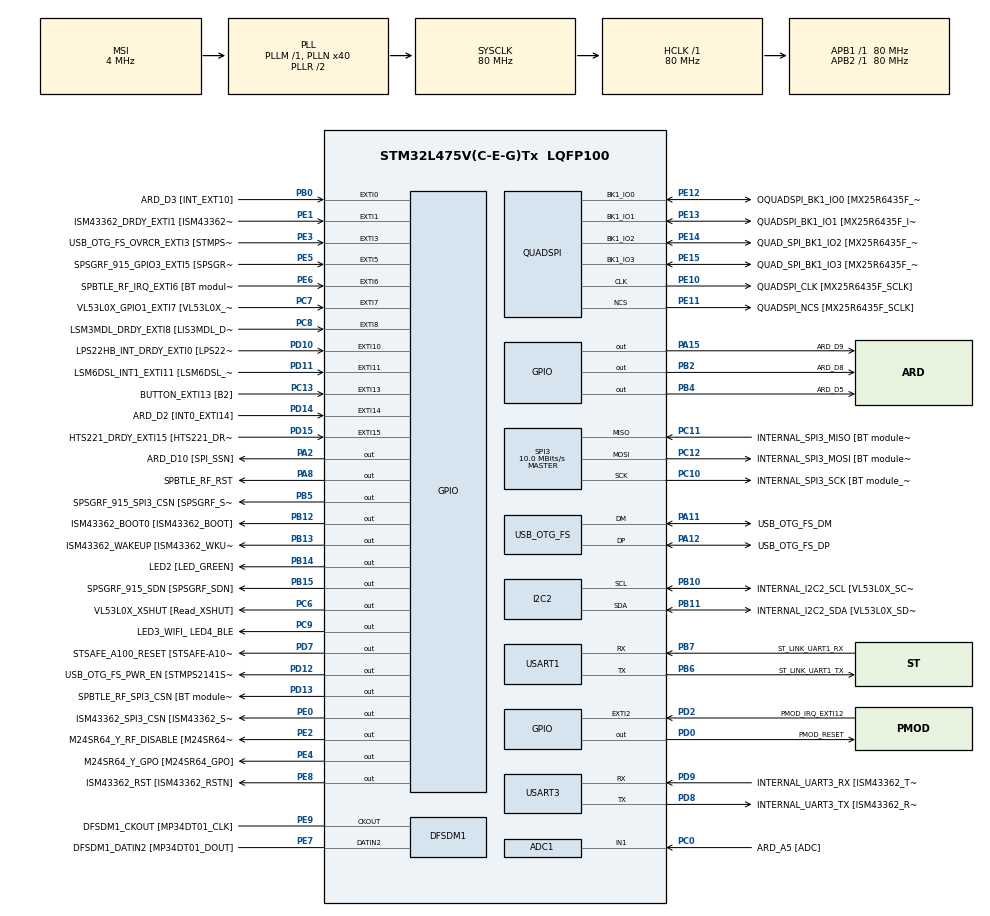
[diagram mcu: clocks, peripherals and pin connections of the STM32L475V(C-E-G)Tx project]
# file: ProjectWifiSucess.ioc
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ADC1.Channel-0\#ChannelRegularConversion=ADC_CHANNEL_1
ADC1.NbrOfConversionFlag=1
ADC1.OffsetNumber-0\#ChannelRegularConversion=ADC_OFFSET_NONE
ADC1.Rank-0\#ChannelRegularConversion=1
ADC1.SamplingTime-0\#ChannelRegularConversion=ADC_SAMPLETIME_2CYCLES_5
ADC1.master=1
I2C2.Timing=0x10909CEC
Mcu.Family=STM32L4
Mcu.Name=STM32L475V(C-E-G)Tx
Mcu.Package=LQFP100
NVIC.ADC1_2_IRQn=true\:0\:0\:false\:false\:true\:true\:true
NVIC.EXTI15_10_IRQn=true\:0\:0\:false\:false\:true\:true\:true
NVIC.EXTI9_5_IRQn=true\:0\:0\:false\:false\:true\:true\:true
NVIC.PriorityGroup=NVIC_PRIORITYGROUP_4
NVIC.SPI3_IRQn=true\:0\:0\:false\:false\:true\:true\:true
PA0.GPIO_Label=ARD_D1 [UART4_TX]
PA0.Signal=UART4_TX
PA1.GPIO_Label=ARD_D0 [UART4_RX]
PA1.Signal=UART4_RX
PA10.GPIO_Label=USB_OTG_FS_ID
PA10.Signal=USB_OTG_FS_ID
PA11.GPIO_Label=USB_OTG_FS_DM
PA11.Mode=Device_Only
PA11.Signal=USB_OTG_FS_DM
PA12.GPIO_Label=USB_OTG_FS_DP
PA12.Mode=Device_Only
PA12.Signal=USB_OTG_FS_DP
PA13\ (JTMS-SWDIO).GPIO_Label=SYS_JTMS_SWDIO
PA13\ (JTMS-SWDIO).Mode=Serial_Wire
PA13\ (JTMS-SWDIO).Signal=SYS_JTMS-SWDIO
PA14\ (JTCK-SWCLK).GPIO_Label=SYS_JTCK_SWCLK
PA14\ (JTCK-SWCLK).Mode=Serial_Wire
PA14\ (JTCK-SWCLK).Signal=SYS_JTCK-SWCLK
PA15\ (JTDI).GPIO_Label=ARD_D9
PA15\ (JTDI).Signal=GPIO_Output
PA2.GPIO_Label=ARD_D10 [SPI_SSN]
PA2.Signal=GPIO_Output
PA3.GPIO_Label=ARD_D4
PA3.Signal=S_TIM2_CH4
PA4.GPIO_Label=ARD_D7
PA4.Signal=ADCx_IN9
PA5.GPIO_Label=ARD_D13 [SPI1_SCK]
PA5.Signal=SPI1_SCK
PA6.GPIO_Label=ARD_D12 [SPI1_MISO]
PA6.Signal=SPI1_MISO
PA7.GPIO_Label=ARD_D11 [SPI1_MOSI]
PA7.Signal=SPI1_MOSI
PA8.GPIO_Label=SPBTLE_RF_RST
PA8.Signal=GPIO_Output
PA9.GPIO_Label=USB_OTG_FS_VBUS [STMPS2141STR_OUT]
PA9.Signal=USB_OTG_FS_VBUS
PB0.GPIO_Label=ARD_D3 [INT_EXT10]
PB0.Signal=GPXTI0
PB1.GPIO_Label=ARD_D6 [ADC1_IN6]
PB1.Signal=ADCx_IN16
PB10.GPIO_Label=INTERNAL_I2C2_SCL [VL53L0X_SCL]
PB10.Mode=I2C
PB10.Signal=I2C2_SCL
PB11.GPIO_Label=INTERNAL_I2C2_SDA [VL53L0X_SDA]
PB11.Mode=I2C
PB11.Signal=I2C2_SDA
PB12.GPIO_Label=ISM43362_BOOT0 [ISM43362_BOOT]
PB12.Signal=GPIO_Output
PB13.GPIO_Label=ISM43362_WAKEUP [ISM43362_WKUP]
PB13.Signal=GPIO_Output
PB14.GPIO_Label=LED2 [LED_GREEN]
PB14.Signal=GPIO_Output
PB15.GPIO_Label=SPSGRF_915_SDN [SPSGRF_SDN]
PB15.Signal=GPIO_Output
PB2.GPIO_Label=ARD_D8
PB2.Signal=GPIO_Output
PB3\ (JTDO-TRACESWO).GPIO_Label=SYS_JTD0_SWO
PB3\ (JTDO-TRACESWO).Signal=SYS_JTDO-SWO
PB4\ (NJTRST).GPIO_Label=ARD_D5
PB4\ (NJTRST).Signal=GPIO_Output
PB5.GPIO_Label=SPSGRF_915_SPI3_CSN [SPSGRF_SPI_CS]
PB5.PinState=GPIO_PIN_SET
PB5.Signal=GPIO_Output
PB6.GPIO_Label=ST_LINK_UART1_TX
PB6.Mode=Asynchronous
PB6.Signal=USART1_TX
PB7.GPIO_Label=ST_LINK_UART1_RX
PB7.Mode=Asynchronous
PB7.Signal=USART1_RX
PB8.GPIO_Label=ARD_D15 [I2C1_SCL]
PB8.Signal=I2C1_SCL
PB9.GPIO_Label=ARD_D14 [I2C1_SDA]
PB9.Signal=I2C1_SDA
PC0.GPIO_Label=ARD_A5 [ADC]
PC0.Signal=ADCx_IN1
PC1.GPIO_Label=ARD_A4 [ADC]
PC1.Signal=ADCx_IN2
PC10.GPIO_Label=INTERNAL_SPI3_SCK [BT module_SPI_SCLK] [ISM43362_SCK]
PC10.Mode=Full_Duplex_Master
PC10.Signal=SPI3_SCK
PC11.GPIO_Label=INTERNAL_SPI3_MISO [BT module_SPI_MISO] [ISM43362_MISO]
PC11.Mode=Full_Duplex_Master
PC11.Signal=SPI3_MISO
PC12.GPIO_Label=INTERNAL_SPI3_MOSI [BT module_SPI_MOSI] [ISM43362_MOSI]
PC12.Mode=Full_Duplex_Master
PC12.Signal=SPI3_MOSI
PC13.GPIO_Label=BUTTON_EXTI13 [B2]
PC13.GPIO_ModeDefaultEXTI=GPIO_MODE_IT_FALLING
PC13.Signal=GPXTI13
PC14-OSC32_IN\ (PC14).Mode=LSE-External-Oscillator
PC14-OSC32_IN\ (PC14).Signal=RCC_OSC32_IN
PC15-OSC32_OUT\ (PC15).Mode=LSE-External-Oscillator
PC15-OSC32_OUT\ (PC15).Signal=RCC_OSC32_OUT
PC2.GPIO_Label=ARD_A3 [ADC]
PC2.Signal=ADCx_IN3
PC3.GPIO_Label=ARD_A2 [ADC]
PC3.Signal=ADCx_IN4
PC4.GPIO_Label=ARD_A1 [ADC]
PC4.Signal=ADCx_IN13
PC5.GPIO_Label=ARD_A0 [ADC]
PC5.Signal=ADCx_IN14
PC6.GPIO_Label=VL53L0X_XSHUT [Read_XSHUT]
PC6.Signal=GPIO_Output
PC7.GPIO_Label=VL53L0X_GPIO1_EXTI7 [VL53L0X_GPIO1]
PC7.Signal=GPXTI7
PC8.GPIO_Label=LSM3MDL_DRDY_EXTI8 [LIS3MDL_DRDY]
PC8.Signal=GPXTI8
PC9.GPIO_Label=LED3_WIFI_ LED4_BLE
PC9.Signal=GPIO_Output
PD0.GPIO_Label=PMOD_RESET
PD0.Signal=GPIO_Output
PD1.GPIO_Label=PMOD_SPI2_SCK
PD1.Signal=SPI2_SCK
PD10.GPIO_Label=LPS22HB_INT_DRDY_EXTI0 [LPS22HB_INT_DRDY] 
PD10.Signal=GPXTI10
PD11.GPIO_Label=LSM6DSL_INT1_EXTI11 [LSM6DSL_INT1]
PD11.Signal=GPXTI11
PD12.GPIO_Label=USB_OTG_FS_PWR_EN [STMPS2141STR_EN]
PD12.Signal=GPIO_Output
PD13.GPIO_Label=SPBTLE_RF_SPI3_CSN [BT module_SPI_CS]
PD13.PinState=GPIO_PIN_SET
PD13.Signal=GPIO_Output
PD14.GPIO_Label=ARD_D2 [INT0_EXTI14]
PD14.Signal=GPXTI14
PD15.GPIO_Label=HTS221_DRDY_EXTI15 [HTS221_DRDY]
PD15.Signal=GPXTI15
PD2.GPIO_Label=PMOD_IRQ_EXTI12
PD2.Signal=GPXTI2
PD3.GPIO_Label=PMOD_UART2_CTS
PD3.Signal=USART2_CTS
PD4.GPIO_Label=PMOD_UART2_RTS
PD4.Signal=USART2_RTS
PD5.GPIO_Label=PMOD_UART2_TX
PD5.Signal=USART2_TX
PD6.GPIO_Label=PMOD_UART2_RX
PD6.Signal=USART2_RX
PD7.GPIO_Label=STSAFE_A100_RESET [STSAFE-A100_RESET]
PD7.Signal=GPIO_Output
PD8.GPIO_Label=INTERNAL_UART3_TX [ISM43362_RX]
PD8.Mode=Asynchronous
PD8.Signal=USART3_TX
PD9.GPIO_Label=INTERNAL_UART3_RX [ISM43362_TX]
PD9.Mode=Asynchronous
PD9.Signal=USART3_RX
PE0.GPIO_Label=ISM43362_SPI3_CSN [ISM43362_SSN]
PE0.PinState=GPIO_PIN_SET
PE0.Signal=GPIO_Output
PE1.GPIO_Label=ISM43362_DRDY_EXTI1 [ISM43362_DATARDY]
PE1.Signal=GPXTI1
PE10.GPIO_Label=QUADSPI_CLK [MX25R6435F_SCLK]
PE10.Mode=Single Bank
PE10.Signal=QUADSPI_CLK
PE11.GPIO_Label=QUADSPI_NCS [MX25R6435F_SCLK]
PE11.Mode=Single Bank
PE11.Signal=QUADSPI_NCS
PE12.GPIO_Label=OQUADSPI_BK1_IO0 [MX25R6435F_IO0]
PE12.Mode=Single Bank
PE12.Signal=QUADSPI_BK1_IO0
PE13.GPIO_Label=QUADSPI_BK1_IO1 [MX25R6435F_IO1]
PE13.Mode=Single Bank
PE13.Signal=QUADSPI_BK1_IO1
PE14.GPIO_Label=QUAD_SPI_BK1_IO2 [MX25R6435F_IO2]
PE14.Mode=Single Bank
PE14.Signal=QUADSPI_BK1_IO2
PE15.GPIO_Label=QUAD_SPI_BK1_IO3 [MX25R6435F_IO3]
PE15.Mode=Single Bank
PE15.Signal=QUADSPI_BK1_IO3
PE2.GPIO_Label=M24SR64_Y_RF_DISABLE [M24SR64_RFDIS]
PE2.Signal=GPIO_Output
PE3.GPIO_Label=USB_OTG_FS_OVRCR_EXTI3 [STMPS2141STR_FAULT]
PE3.Signal=GPXTI3
PE4.GPIO_Label=M24SR64_Y_GPO [M24SR64_GPO]
PE4.Signal=GPIO_Output
PE5.GPIO_Label=SPSGRF_915_GPIO3_EXTI5 [SPSGRF_GPIO_3]
PE5.Signal=GPXTI5
PE6.GPIO_Label=SPBTLE_RF_IRQ_EXTI6 [BT module_SPI_IRQ]
PE6.Signal=GPXTI6
PE7.GPIO_Label=DFSDM1_DATIN2 [MP34DT01_DOUT]
PE7.Signal=S_DATAIN2DFSDM1
PE8.GPIO_Label=ISM43362_RST [ISM43362_RSTN]
PE8.Signal=GPIO_Output
PE9.GPIO_Label=DFSDM1_CKOUT [MP34DT01_CLK]
PE9.Signal=S_CKOUTDFSDM1
ProjectManager.HeapSize=0x200
ProjectManager.StackSize=0x400
ProjectManager.TargetToolchain=STM32CubeIDE
RCC.ADCFreq_Value=48000000
RCC.AHBFreq_Value=80000000
RCC.APB1Freq_Value=80000000
RCC.APB1TimFreq_Value=80000000
RCC.APB2Freq_Value=80000000
RCC.APB2TimFreq_Value=80000000
RCC.CortexFreq_Value=80000000
RCC.HCLKFreq_Value=80000000
RCC.HSE_VALUE=8000000
RCC.HSI_VALUE=16000000
RCC.MSI_VALUE=4000000
RCC.PLLN=40
RCC.PLLSAI1N=24
RCC.SYSCLKFreq_VALUE=80000000
RCC.SYSCLKSource=RCC_SYSCLKSOURCE_PLLCLK
RCC.USBFreq_Value=48000000
RCC.VCOOutputFreq_Value=160000000
SH.ADCx_IN1.0=ADC1_IN1,IN1-Single-Ended
SH.ADCx_IN13.0=ADC1_IN13
SH.ADCx_IN14.0=ADC1_IN14
SH.ADCx_IN16.0=ADC1_IN16
SH.ADCx_IN2.0=ADC1_IN2
SH.ADCx_IN3.0=ADC1_IN3
SH.ADCx_IN4.0=ADC1_IN4
SH.ADCx_IN9.0=ADC1_IN9
SH.S_CKOUTDFSDM1.0=DFSDM1_CKOUT,CKOUT
SH.S_CKOUTDFSDM1.1=DFSDM1_CKOUT,PDM_SPI_Input_from_ch12_and_Internal_Clock
SH.S_DATAIN2DFSDM1.0=DFSDM1_DATIN2,PDM_SPI_Input_from_ch12_and_Internal_Clock
SH.S_TIM2_CH4.0=TIM2_CH4
SPI3.BaudRatePrescaler=SPI_BAUDRATEPRESCALER_8
SPI3.CalculateBaudRate=10.0 MBits/s
SPI3.DataSize=SPI_DATASIZE_16BIT
SPI3.Direction=SPI_DIRECTION_2LINES
SPI3.Mode=SPI_MODE_MASTER
SPI3.NSSPMode=SPI_NSS_PULSE_DISABLE
SPI3.VirtualType=VM_MASTER
USART1.VirtualMode-Asynchronous=VM_ASYNC
USART3.VirtualMode-Asynchronous=VM_ASYNC
USB_OTG_FS.VirtualMode=Device_Only
board=B-L475E-IOT01A1

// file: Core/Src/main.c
/* USER CODE BEGIN Header */
/**
  ******************************************************************************
  * @file           : main.c
  * @brief          : Main program body
  ******************************************************************************
  * @attention
  *
  * <h2><center>&copy; Copyright (c) 2020 STMicroelectronics.
  * All rights reserved.</center></h2>
  *
  * This software component is licensed by ST under BSD 3-Clause license,
  * the "License"; You may not use this file except in compliance with the
  * License. You may obtain a copy of the License at:
  *                        opensource.org/licenses/BSD-3-Clause
  *
  ******************************************************************************
  *
  * This program is designed as an agricultural sensor measurement/management
  * system over WiFi.
  */
/* USER CODE END Header */
#include "main.h"

/* USER CODE BEGIN Includes */

#include <stdint.h>
#include "stm32l475e_iot01.h"
#include "SensorManager.h"
#include "Time.h" // Custom Time Library"
#include "ADC.h"
#include "WiFiController.h"
#include "DBG_UART.h"
/* USER CODE END Includes */

ADC_HandleTypeDef hadc1;

DFSDM_Channel_HandleTypeDef hdfsdm1_channel1;

I2C_HandleTypeDef hi2c2;

QSPI_HandleTypeDef hqspi;

SPI_HandleTypeDef hspi3;

UART_HandleTypeDef huart1;
UART_HandleTypeDef huart3;

PCD_HandleTypeDef hpcd_USB_OTG_FS;

void SystemClock_Config(void);
static void MX_GPIO_Init(void);
static void MX_DFSDM1_Init(void);
static void MX_I2C2_Init(void);
static void MX_QUADSPI_Init(void);
static void MX_USART1_UART_Init(void);
static void MX_USART3_UART_Init(void);
static void MX_USB_OTG_FS_PCD_Init(void);
static void MX_SPI3_Init(void);
static void MX_ADC1_Init(void);

int main(void)
{

  /* MCU Configuration--------------------------------------------------------*/

  /* Reset of all peripherals, Initializes the Flash interface and the Systick. */
  HAL_Init();

  /* Configure the system clock */
  SystemClock_Config();

  /* USER CODE BEGIN SysInit */
  Time_Init(); // initialize timer
  /* USER CODE END SysInit */

  /* Initialize all configured peripherals */
  MX_GPIO_Init();
  MX_DFSDM1_Init();
  MX_I2C2_Init();
  MX_QUADSPI_Init();
  MX_USART1_UART_Init();
  MX_USART3_UART_Init();
  MX_USB_OTG_FS_PCD_Init();
  MX_SPI3_Init();
  MX_ADC1_Init();
  /* USER CODE BEGIN 2 */
  // Init commmunication functions (UART/WiFi
  DBG_UART_Init();
  WiFi_Controller_Init();
  /* USER CODE END 2 */

  /* Infinite loop */
  /* USER CODE BEGIN WHILE */

  	ADC_Init(&hadc1, ADC_MOISTURE);// init ADC

  	// init/enable sensors
    SensorInit(STTemperature);
    SensorInit(STHumidity);
    SensorInit(STSoilMoisture);

    EnableSensor(STTemperature);
    EnableSensor(STHumidity);
    EnableSensor(STSoilMoisture);
    BSP_LED_Init(LED2); // Init Irrigation Control Alert LED
    BSP_LED_Off(LED2);

#define IRRIGATION_TIME MS(10000)
    Tick irrigation_timer = GetTime_ms(); // start irrigation timer
  while (1)
  {
	  WiFi_Controller_Task(); // run WiFi controller tasks
	  ADC_ReadTask(); // Read from ADC
	  SensorTask(); // Read sensors
	  //Alarm code
	  if (SensorGetData(STSoilMoisture) < 10.0) // if soil moisture is < 10%
	  {
		  BSP_LED_On(LED2); // activate irrigation control
		  irrigation_timer = GetTime_ms(); // reset timer
	  } else if (GetTimeSince_ms(irrigation_timer) > IRRIGATION_TIME)// if moisture > X% for Y seconds
	  {
		  // moisture fine
		  BSP_LED_Off(LED2); // turn off irrigation control
	  }
    /* USER CODE END WHILE */

  }
}

void SystemClock_Config(void)
{
  RCC_OscInitTypeDef RCC_OscInitStruct = {0};
  RCC_ClkInitTypeDef RCC_ClkInitStruct = {0};
  RCC_PeriphCLKInitTypeDef PeriphClkInit = {0};

  /** Configure LSE Drive Capability
  */
  HAL_PWR_EnableBkUpAccess();
  __HAL_RCC_LSEDRIVE_CONFIG(RCC_LSEDRIVE_LOW);
  /** Initializes the RCC Oscillators according to the specified parameters
  * in the RCC_OscInitTypeDef structure.
  */
  RCC_OscInitStruct.OscillatorType = RCC_OSCILLATORTYPE_LSE|RCC_OSCILLATORTYPE_MSI;
  RCC_OscInitStruct.LSEState = RCC_LSE_ON;
  RCC_OscInitStruct.MSIState = RCC_MSI_ON;
  RCC_OscInitStruct.MSICalibrationValue = 0;
  RCC_OscInitStruct.MSIClockRange = RCC_MSIRANGE_6;
  RCC_OscInitStruct.PLL.PLLState = RCC_PLL_ON;
  RCC_OscInitStruct.PLL.PLLSource = RCC_PLLSOURCE_MSI;
  RCC_OscInitStruct.PLL.PLLM = 1;
  RCC_OscInitStruct.PLL.PLLN = 40;
  RCC_OscInitStruct.PLL.PLLP = RCC_PLLP_DIV7;
  RCC_OscInitStruct.PLL.PLLQ = RCC_PLLQ_DIV2;
  RCC_OscInitStruct.PLL.PLLR = RCC_PLLR_DIV2;
  if (HAL_RCC_OscConfig(&RCC_OscInitStruct) != HAL_OK)
  {
    Error_Handler();
  }
  /** Initializes the CPU, AHB and APB buses clocks
  */
  RCC_ClkInitStruct.ClockType = RCC_CLOCKTYPE_HCLK|RCC_CLOCKTYPE_SYSCLK
                              |RCC_CLOCKTYPE_PCLK1|RCC_CLOCKTYPE_PCLK2;
  RCC_ClkInitStruct.SYSCLKSource = RCC_SYSCLKSOURCE_PLLCLK;
  RCC_ClkInitStruct.AHBCLKDivider = RCC_SYSCLK_DIV1;
  RCC_ClkInitStruct.APB1CLKDivider = RCC_HCLK_DIV1;
  RCC_ClkInitStruct.APB2CLKDivider = RCC_HCLK_DIV1;

  if (HAL_RCC_ClockConfig(&RCC_ClkInitStruct, FLASH_LATENCY_4) != HAL_OK)
  {
    Error_Handler();
  }
  PeriphClkInit.PeriphClockSelection = RCC_PERIPHCLK_USART1|RCC_PERIPHCLK_USART3
                              |RCC_PERIPHCLK_I2C2|RCC_PERIPHCLK_DFSDM1
                              |RCC_PERIPHCLK_USB|RCC_PERIPHCLK_ADC;
  PeriphClkInit.Usart1ClockSelection = RCC_USART1CLKSOURCE_PCLK2;
  PeriphClkInit.Usart3ClockSelection = RCC_USART3CLKSOURCE_PCLK1;
  PeriphClkInit.I2c2ClockSelection = RCC_I2C2CLKSOURCE_PCLK1;
  PeriphClkInit.AdcClockSelection = RCC_ADCCLKSOURCE_PLLSAI1;
  PeriphClkInit.Dfsdm1ClockSelection = RCC_DFSDM1CLKSOURCE_PCLK;
  PeriphClkInit.UsbClockSelection = RCC_USBCLKSOURCE_PLLSAI1;
  PeriphClkInit.PLLSAI1.PLLSAI1Source = RCC_PLLSOURCE_MSI;
  PeriphClkInit.PLLSAI1.PLLSAI1M = 1;
  PeriphClkInit.PLLSAI1.PLLSAI1N = 24;
  PeriphClkInit.PLLSAI1.PLLSAI1P = RCC_PLLP_DIV7;
  PeriphClkInit.PLLSAI1.PLLSAI1Q = RCC_PLLQ_DIV2;
  PeriphClkInit.PLLSAI1.PLLSAI1R = RCC_PLLR_DIV2;
  PeriphClkInit.PLLSAI1.PLLSAI1ClockOut = RCC_PLLSAI1_48M2CLK|RCC_PLLSAI1_ADC1CLK;
  if (HAL_RCCEx_PeriphCLKConfig(&PeriphClkInit) != HAL_OK)
  {
    Error_Handler();
  }
  /** Configure the main internal regulator output voltage
  */
  if (HAL_PWREx_ControlVoltageScaling(PWR_REGULATOR_VOLTAGE_SCALE1) != HAL_OK)
  {
    Error_Handler();
  }
  /** Enable MSI Auto calibration
  */
  HAL_RCCEx_EnableMSIPLLMode();
}

static void MX_ADC1_Init(void)
{

  ADC_MultiModeTypeDef multimode = {0};
  ADC_ChannelConfTypeDef sConfig = {0};

  /** Common config
  */
  hadc1.Instance = ADC1;
  hadc1.Init.ClockPrescaler = ADC_CLOCK_ASYNC_DIV1;
  hadc1.Init.Resolution = ADC_RESOLUTION_12B;
  hadc1.Init.DataAlign = ADC_DATAALIGN_RIGHT;
  hadc1.Init.ScanConvMode = ADC_SCAN_DISABLE;
  hadc1.Init.EOCSelection = ADC_EOC_SINGLE_CONV;
  hadc1.Init.LowPowerAutoWait = DISABLE;
  hadc1.Init.ContinuousConvMode = DISABLE;
  hadc1.Init.NbrOfConversion = 1;
  hadc1.Init.DiscontinuousConvMode = DISABLE;
  hadc1.Init.ExternalTrigConv = ADC_SOFTWARE_START;
  hadc1.Init.ExternalTrigConvEdge = ADC_EXTERNALTRIGCONVEDGE_NONE;
  hadc1.Init.DMAContinuousRequests = DISABLE;
  hadc1.Init.Overrun = ADC_OVR_DATA_PRESERVED;
  hadc1.Init.OversamplingMode = DISABLE;
  if (HAL_ADC_Init(&hadc1) != HAL_OK)
  {
    Error_Handler();
  }
  /** Configure the ADC multi-mode
  */
  multimode.Mode = ADC_MODE_INDEPENDENT;
  if (HAL_ADCEx_MultiModeConfigChannel(&hadc1, &multimode) != HAL_OK)
  {
    Error_Handler();
  }
  /** Configure Regular Channel
  */
  sConfig.Channel = ADC_CHANNEL_1;
  sConfig.Rank = ADC_REGULAR_RANK_1;
  sConfig.SamplingTime = ADC_SAMPLETIME_2CYCLES_5;
  sConfig.SingleDiff = ADC_SINGLE_ENDED;
  sConfig.OffsetNumber = ADC_OFFSET_NONE;
  sConfig.Offset = 0;
  if (HAL_ADC_ConfigChannel(&hadc1, &sConfig) != HAL_OK)
  {
    Error_Handler();
  }

}

static void MX_DFSDM1_Init(void)
{

  hdfsdm1_channel1.Instance = DFSDM1_Channel1;
  hdfsdm1_channel1.Init.OutputClock.Activation = ENABLE;
  hdfsdm1_channel1.Init.OutputClock.Selection = DFSDM_CHANNEL_OUTPUT_CLOCK_SYSTEM;
  hdfsdm1_channel1.Init.OutputClock.Divider = 2;
  hdfsdm1_channel1.Init.Input.Multiplexer = DFSDM_CHANNEL_EXTERNAL_INPUTS;
  hdfsdm1_channel1.Init.Input.DataPacking = DFSDM_CHANNEL_STANDARD_MODE;
  hdfsdm1_channel1.Init.Input.Pins = DFSDM_CHANNEL_FOLLOWING_CHANNEL_PINS;
  hdfsdm1_channel1.Init.SerialInterface.Type = DFSDM_CHANNEL_SPI_RISING;
  hdfsdm1_channel1.Init.SerialInterface.SpiClock = DFSDM_CHANNEL_SPI_CLOCK_INTERNAL;
  hdfsdm1_channel1.Init.Awd.FilterOrder = DFSDM_CHANNEL_FASTSINC_ORDER;
  hdfsdm1_channel1.Init.Awd.Oversampling = 1;
  hdfsdm1_channel1.Init.Offset = 0;
  hdfsdm1_channel1.Init.RightBitShift = 0x00;
  if (HAL_DFSDM_ChannelInit(&hdfsdm1_channel1) != HAL_OK)
  {
    Error_Handler();
  }

}

static void MX_I2C2_Init(void)
{

  hi2c2.Instance = I2C2;
  hi2c2.Init.Timing = 0x10909CEC;
  hi2c2.Init.OwnAddress1 = 0;
  hi2c2.Init.AddressingMode = I2C_ADDRESSINGMODE_7BIT;
  hi2c2.Init.DualAddressMode = I2C_DUALADDRESS_DISABLE;
  hi2c2.Init.OwnAddress2 = 0;
  hi2c2.Init.OwnAddress2Masks = I2C_OA2_NOMASK;
  hi2c2.Init.GeneralCallMode = I2C_GENERALCALL_DISABLE;
  hi2c2.Init.NoStretchMode = I2C_NOSTRETCH_DISABLE;
  if (HAL_I2C_Init(&hi2c2) != HAL_OK)
  {
    Error_Handler();
  }
  /** Configure Analogue filter
  */
  if (HAL_I2CEx_ConfigAnalogFilter(&hi2c2, I2C_ANALOGFILTER_ENABLE) != HAL_OK)
  {
    Error_Handler();
  }
  /** Configure Digital filter
  */
  if (HAL_I2CEx_ConfigDigitalFilter(&hi2c2, 0) != HAL_OK)
  {
    Error_Handler();
  }

}

static void MX_QUADSPI_Init(void)
{

  /* QUADSPI parameter configuration*/
  hqspi.Instance = QUADSPI;
  hqspi.Init.ClockPrescaler = 255;
  hqspi.Init.FifoThreshold = 1;
  hqspi.Init.SampleShifting = QSPI_SAMPLE_SHIFTING_NONE;
  hqspi.Init.FlashSize = 1;
  hqspi.Init.ChipSelectHighTime = QSPI_CS_HIGH_TIME_1_CYCLE;
  hqspi.Init.ClockMode = QSPI_CLOCK_MODE_0;
  if (HAL_QSPI_Init(&hqspi) != HAL_OK)
  {
    Error_Handler();
  }

}

static void MX_SPI3_Init(void)
{

  /* SPI3 parameter configuration*/
  hspi3.Instance = SPI3;
  hspi3.Init.Mode = SPI_MODE_MASTER;
  hspi3.Init.Direction = SPI_DIRECTION_2LINES;
  hspi3.Init.DataSize = SPI_DATASIZE_16BIT;
  hspi3.Init.CLKPolarity = SPI_POLARITY_LOW;
  hspi3.Init.CLKPhase = SPI_PHASE_1EDGE;
  hspi3.Init.NSS = SPI_NSS_SOFT;
  hspi3.Init.BaudRatePrescaler = SPI_BAUDRATEPRESCALER_8;
  hspi3.Init.FirstBit = SPI_FIRSTBIT_MSB;
  hspi3.Init.TIMode = SPI_TIMODE_DISABLE;
  hspi3.Init.CRCCalculation = SPI_CRCCALCULATION_DISABLE;
  hspi3.Init.CRCPolynomial = 7;
  hspi3.Init.CRCLength = SPI_CRC_LENGTH_DATASIZE;
  hspi3.Init.NSSPMode = SPI_NSS_PULSE_DISABLE;
  if (HAL_SPI_Init(&hspi3) != HAL_OK)
  {
    Error_Handler();
  }

}

static void MX_USART1_UART_Init(void)
{

  huart1.Instance = USART1;
  huart1.Init.BaudRate = 115200;
  huart1.Init.WordLength = UART_WORDLENGTH_8B;
  huart1.Init.StopBits = UART_STOPBITS_1;
  huart1.Init.Parity = UART_PARITY_NONE;
  huart1.Init.Mode = UART_MODE_TX_RX;
  huart1.Init.HwFlowCtl = UART_HWCONTROL_NONE;
  huart1.Init.OverSampling = UART_OVERSAMPLING_16;
  huart1.Init.OneBitSampling = UART_ONE_BIT_SAMPLE_DISABLE;
  huart1.AdvancedInit.AdvFeatureInit = UART_ADVFEATURE_NO_INIT;
  if (HAL_UART_Init(&huart1) != HAL_OK)
  {
    Error_Handler();
  }

}

static void MX_USART3_UART_Init(void)
{

  huart3.Instance = USART3;
  huart3.Init.BaudRate = 115200;
  huart3.Init.WordLength = UART_WORDLENGTH_8B;
  huart3.Init.StopBits = UART_STOPBITS_1;
  huart3.Init.Parity = UART_PARITY_NONE;
  huart3.Init.Mode = UART_MODE_TX_RX;
  huart3.Init.HwFlowCtl = UART_HWCONTROL_NONE;
  huart3.Init.OverSampling = UART_OVERSAMPLING_16;
  huart3.Init.OneBitSampling = UART_ONE_BIT_SAMPLE_DISABLE;
  huart3.AdvancedInit.AdvFeatureInit = UART_ADVFEATURE_NO_INIT;
  if (HAL_UART_Init(&huart3) != HAL_OK)
  {
    Error_Handler();
  }

}

static void MX_USB_OTG_FS_PCD_Init(void)
{

  hpcd_USB_OTG_FS.Instance = USB_OTG_FS;
  hpcd_USB_OTG_FS.Init.dev_endpoints = 6;
  hpcd_USB_OTG_FS.Init.speed = PCD_SPEED_FULL;
  hpcd_USB_OTG_FS.Init.phy_itface = PCD_PHY_EMBEDDED;
  hpcd_USB_OTG_FS.Init.Sof_enable = DISABLE;
  hpcd_USB_OTG_FS.Init.low_power_enable = DISABLE;
  hpcd_USB_OTG_FS.Init.lpm_enable = DISABLE;
  hpcd_USB_OTG_FS.Init.battery_charging_enable = DISABLE;
  hpcd_USB_OTG_FS.Init.use_dedicated_ep1 = DISABLE;
  hpcd_USB_OTG_FS.Init.vbus_sensing_enable = DISABLE;
  if (HAL_PCD_Init(&hpcd_USB_OTG_FS) != HAL_OK)
  {
    Error_Handler();
  }

}

static void MX_GPIO_Init(void)
{
  GPIO_InitTypeDef GPIO_InitStruct = {0};

  /* GPIO Ports Clock Enable */
  __HAL_RCC_GPIOE_CLK_ENABLE();
  __HAL_RCC_GPIOC_CLK_ENABLE();
  __HAL_RCC_GPIOA_CLK_ENABLE();
  __HAL_RCC_GPIOB_CLK_ENABLE();
  __HAL_RCC_GPIOD_CLK_ENABLE();

  /*Configure GPIO pin Output Level */
  HAL_GPIO_WritePin(GPIOE, M24SR64_Y_RF_DISABLE_Pin|M24SR64_Y_GPO_Pin|ISM43362_RST_Pin, GPIO_PIN_RESET);

  /*Configure GPIO pin Output Level */
  HAL_GPIO_WritePin(GPIOA, ARD_D10_Pin|SPBTLE_RF_RST_Pin|ARD_D9_Pin, GPIO_PIN_RESET);

  /*Configure GPIO pin Output Level */
  HAL_GPIO_WritePin(GPIOB, ARD_D8_Pin|ISM43362_BOOT0_Pin|ISM43362_WAKEUP_Pin|LED2_Pin
                          |SPSGRF_915_SDN_Pin|ARD_D5_Pin, GPIO_PIN_RESET);

  /*Configure GPIO pin Output Level */
  HAL_GPIO_WritePin(GPIOD, USB_OTG_FS_PWR_EN_Pin|PMOD_RESET_Pin|STSAFE_A100_RESET_Pin, GPIO_PIN_RESET);

  /*Configure GPIO pin Output Level */
  HAL_GPIO_WritePin(SPBTLE_RF_SPI3_CSN_GPIO_Port, SPBTLE_RF_SPI3_CSN_Pin, GPIO_PIN_SET);

  /*Configure GPIO pin Output Level */
  HAL_GPIO_WritePin(GPIOC, VL53L0X_XSHUT_Pin|LED3_WIFI__LED4_BLE_Pin, GPIO_PIN_RESET);

  /*Configure GPIO pin Output Level */
  HAL_GPIO_WritePin(SPSGRF_915_SPI3_CSN_GPIO_Port, SPSGRF_915_SPI3_CSN_Pin, GPIO_PIN_SET);

  /*Configure GPIO pin Output Level */
  HAL_GPIO_WritePin(ISM43362_SPI3_CSN_GPIO_Port, ISM43362_SPI3_CSN_Pin, GPIO_PIN_SET);

  /*Configure GPIO pins : M24SR64_Y_RF_DISABLE_Pin M24SR64_Y_GPO_Pin ISM43362_RST_Pin ISM43362_SPI3_CSN_Pin */
  GPIO_InitStruct.Pin = M24SR64_Y_RF_DISABLE_Pin|M24SR64_Y_GPO_Pin|ISM43362_RST_Pin|ISM43362_SPI3_CSN_Pin;
  GPIO_InitStruct.Mode = GPIO_MODE_OUTPUT_PP;
  GPIO_InitStruct.Pull = GPIO_NOPULL;
  GPIO_InitStruct.Speed = GPIO_SPEED_FREQ_LOW;
  HAL_GPIO_Init(GPIOE, &GPIO_InitStruct);

  /*Configure GPIO pins : USB_OTG_FS_OVRCR_EXTI3_Pin SPSGRF_915_GPIO3_EXTI5_Pin SPBTLE_RF_IRQ_EXTI6_Pin ISM43362_DRDY_EXTI1_Pin */
  GPIO_InitStruct.Pin = USB_OTG_FS_OVRCR_EXTI3_Pin|SPSGRF_915_GPIO3_EXTI5_Pin|SPBTLE_RF_IRQ_EXTI6_Pin|ISM43362_DRDY_EXTI1_Pin;
  GPIO_InitStruct.Mode = GPIO_MODE_IT_RISING;
  GPIO_InitStruct.Pull = GPIO_NOPULL;
  HAL_GPIO_Init(GPIOE, &GPIO_InitStruct);

  /*Configure GPIO pin : BUTTON_EXTI13_Pin */
  GPIO_InitStruct.Pin = BUTTON_EXTI13_Pin;
  GPIO_InitStruct.Mode = GPIO_MODE_IT_FALLING;
  GPIO_InitStruct.Pull = GPIO_NOPULL;
  HAL_GPIO_Init(BUTTON_EXTI13_GPIO_Port, &GPIO_InitStruct);

  /*Configure GPIO pins : ARD_D1_Pin ARD_D0_Pin */
  GPIO_InitStruct.Pin = ARD_D1_Pin|ARD_D0_Pin;
  GPIO_InitStruct.Mode = GPIO_MODE_AF_PP;
  GPIO_InitStruct.Pull = GPIO_NOPULL;
  GPIO_InitStruct.Speed = GPIO_SPEED_FREQ_VERY_HIGH;
  GPIO_InitStruct.Alternate = GPIO_AF8_UART4;
  HAL_GPIO_Init(GPIOA, &GPIO_InitStruct);

  /*Configure GPIO pins : ARD_D10_Pin SPBTLE_RF_RST_Pin ARD_D9_Pin */
  GPIO_InitStruct.Pin = ARD_D10_Pin|SPBTLE_RF_RST_Pin|ARD_D9_Pin;
  GPIO_InitStruct.Mode = GPIO_MODE_OUTPUT_PP;
  GPIO_InitStruct.Pull = GPIO_NOPULL;
  GPIO_InitStruct.Speed = GPIO_SPEED_FREQ_LOW;
  HAL_GPIO_Init(GPIOA, &GPIO_InitStruct);

  /*Configure GPIO pin : ARD_D4_Pin */
  GPIO_InitStruct.Pin = ARD_D4_Pin;
  GPIO_InitStruct.Mode = GPIO_MODE_AF_PP;
  GPIO_InitStruct.Pull = GPIO_NOPULL;
  GPIO_InitStruct.Speed = GPIO_SPEED_FREQ_LOW;
  GPIO_InitStruct.Alternate = GPIO_AF1_TIM2;
  HAL_GPIO_Init(ARD_D4_GPIO_Port, &GPIO_InitStruct);

  /*Configure GPIO pins : ARD_D13_Pin ARD_D12_Pin ARD_D11_Pin */
  GPIO_InitStruct.Pin = ARD_D13_Pin|ARD_D12_Pin|ARD_D11_Pin;
  GPIO_InitStruct.Mode = GPIO_MODE_AF_PP;
  GPIO_InitStruct.Pull = GPIO_NOPULL;
  GPIO_InitStruct.Speed = GPIO_SPEED_FREQ_VERY_HIGH;
  GPIO_InitStruct.Alternate = GPIO_AF5_SPI1;
  HAL_GPIO_Init(GPIOA, &GPIO_InitStruct);

  /*Configure GPIO pin : ARD_D3_Pin */
  GPIO_InitStruct.Pin = ARD_D3_Pin;
  GPIO_InitStruct.Mode = GPIO_MODE_IT_RISING;
  GPIO_InitStruct.Pull = GPIO_NOPULL;
  HAL_GPIO_Init(ARD_D3_GPIO_Port, &GPIO_InitStruct);

  /*Configure GPIO pins : ARD_D8_Pin ISM43362_BOOT0_Pin ISM43362_WAKEUP_Pin LED2_Pin
                           SPSGRF_915_SDN_Pin ARD_D5_Pin SPSGRF_915_SPI3_CSN_Pin */
  GPIO_InitStruct.Pin = ARD_D8_Pin|ISM43362_BOOT0_Pin|ISM43362_WAKEUP_Pin|LED2_Pin
                          |SPSGRF_915_SDN_Pin|ARD_D5_Pin|SPSGRF_915_SPI3_CSN_Pin;
  GPIO_InitStruct.Mode = GPIO_MODE_OUTPUT_PP;
  GPIO_InitStruct.Pull = GPIO_NOPULL;
  GPIO_InitStruct.Speed = GPIO_SPEED_FREQ_LOW;
  HAL_GPIO_Init(GPIOB, &GPIO_InitStruct);

  /*Configure GPIO pins : LPS22HB_INT_DRDY_EXTI0_Pin LSM6DSL_INT1_EXTI11_Pin ARD_D2_Pin HTS221_DRDY_EXTI15_Pin
                           PMOD_IRQ_EXTI12_Pin */
  GPIO_InitStruct.Pin = LPS22HB_INT_DRDY_EXTI0_Pin|LSM6DSL_INT1_EXTI11_Pin|ARD_D2_Pin|HTS221_DRDY_EXTI15_Pin
                          |PMOD_IRQ_EXTI12_Pin;
  GPIO_InitStruct.Mode = GPIO_MODE_IT_RISING;
  GPIO_InitStruct.Pull = GPIO_NOPULL;
  HAL_GPIO_Init(GPIOD, &GPIO_InitStruct);

  /*Configure GPIO pins : USB_OTG_FS_PWR_EN_Pin SPBTLE_RF_SPI3_CSN_Pin PMOD_RESET_Pin STSAFE_A100_RESET_Pin */
  GPIO_InitStruct.Pin = USB_OTG_FS_PWR_EN_Pin|SPBTLE_RF_SPI3_CSN_Pin|PMOD_RESET_Pin|STSAFE_A100_RESET_Pin;
  GPIO_InitStruct.Mode = GPIO_MODE_OUTPUT_PP;
  GPIO_InitStruct.Pull = GPIO_NOPULL;
  GPIO_InitStruct.Speed = GPIO_SPEED_FREQ_LOW;
  HAL_GPIO_Init(GPIOD, &GPIO_InitStruct);

  /*Configure GPIO pins : VL53L0X_XSHUT_Pin LED3_WIFI__LED4_BLE_Pin */
  GPIO_InitStruct.Pin = VL53L0X_XSHUT_Pin|LED3_WIFI__LED4_BLE_Pin;
  GPIO_InitStruct.Mode = GPIO_MODE_OUTPUT_PP;
  GPIO_InitStruct.Pull = GPIO_NOPULL;
  GPIO_InitStruct.Speed = GPIO_SPEED_FREQ_LOW;
  HAL_GPIO_Init(GPIOC, &GPIO_InitStruct);

  /*Configure GPIO pins : VL53L0X_GPIO1_EXTI7_Pin LSM3MDL_DRDY_EXTI8_Pin */
  GPIO_InitStruct.Pin = VL53L0X_GPIO1_EXTI7_Pin|LSM3MDL_DRDY_EXTI8_Pin;
  GPIO_InitStruct.Mode = GPIO_MODE_IT_RISING;
  GPIO_InitStruct.Pull = GPIO_NOPULL;
  HAL_GPIO_Init(GPIOC, &GPIO_InitStruct);

  /*Configure GPIO pin : PMOD_SPI2_SCK_Pin */
  GPIO_InitStruct.Pin = PMOD_SPI2_SCK_Pin;
  GPIO_InitStruct.Mode = GPIO_MODE_AF_PP;
  GPIO_InitStruct.Pull = GPIO_NOPULL;
  GPIO_InitStruct.Speed = GPIO_SPEED_FREQ_VERY_HIGH;
  GPIO_InitStruct.Alternate = GPIO_AF5_SPI2;
  HAL_GPIO_Init(PMOD_SPI2_SCK_GPIO_Port, &GPIO_InitStruct);

  /*Configure GPIO pins : PMOD_UART2_CTS_Pin PMOD_UART2_RTS_Pin PMOD_UART2_TX_Pin PMOD_UART2_RX_Pin */
  GPIO_InitStruct.Pin = PMOD_UART2_CTS_Pin|PMOD_UART2_RTS_Pin|PMOD_UART2_TX_Pin|PMOD_UART2_RX_Pin;
  GPIO_InitStruct.Mode = GPIO_MODE_AF_PP;
  GPIO_InitStruct.Pull = GPIO_NOPULL;
  GPIO_InitStruct.Speed = GPIO_SPEED_FREQ_VERY_HIGH;
  GPIO_InitStruct.Alternate = GPIO_AF7_USART2;
  HAL_GPIO_Init(GPIOD, &GPIO_InitStruct);

  /*Configure GPIO pins : ARD_D15_Pin ARD_D14_Pin */
  GPIO_InitStruct.Pin = ARD_D15_Pin|ARD_D14_Pin;
  GPIO_InitStruct.Mode = GPIO_MODE_AF_OD;
  GPIO_InitStruct.Pull = GPIO_PULLUP;
  GPIO_InitStruct.Speed = GPIO_SPEED_FREQ_VERY_HIGH;
  GPIO_InitStruct.Alternate = GPIO_AF4_I2C1;
  HAL_GPIO_Init(GPIOB, &GPIO_InitStruct);

  /* EXTI interrupt init*/
  HAL_NVIC_SetPriority(EXTI1_IRQn, 0, 0);
  HAL_NVIC_EnableIRQ(EXTI1_IRQn);

  HAL_NVIC_SetPriority(EXTI9_5_IRQn, 0, 0);
  HAL_NVIC_EnableIRQ(EXTI9_5_IRQn);

  HAL_NVIC_SetPriority(EXTI15_10_IRQn, 0, 0);
  HAL_NVIC_EnableIRQ(EXTI15_10_IRQn);

}

/* USER CODE BEGIN 4 */
void HAL_GPIO_EXTI_Callback(uint16_t GPIO_Pin)
{
  switch (GPIO_Pin)
  {
    case (1<<1):
    {
      WiFiControllerISR();
      break;
    }
    default:
    {
      break;
    }
  }
}
/* USER CODE END 4 */

void Error_Handler(void)
{
}

/************************ (C) COPYRIGHT STMicroelectronics *****END OF FILE****/
